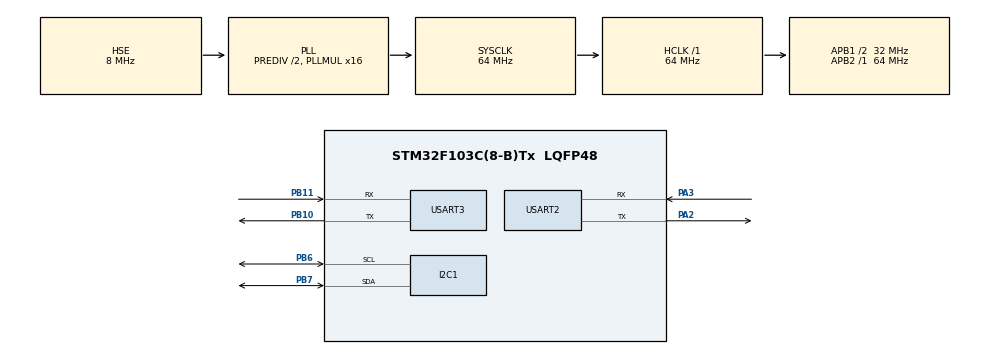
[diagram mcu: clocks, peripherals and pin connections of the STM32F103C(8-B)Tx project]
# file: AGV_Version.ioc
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Mcu.Family=STM32F1
NVIC.USART3_IRQn=true\:0\:0\:false\:false\:true\:true\:true
Dma.USART3_RX.0.Instance=DMA1_Channel3
RCC.PLLSourceVirtual=RCC_PLLSOURCE_HSE
Dma.USART2_RX.2.PeriphDataAlignment=DMA_PDATAALIGN_BYTE
Dma.USART2_TX.3.MemDataAlignment=DMA_MDATAALIGN_BYTE
NVIC.DMA1_Channel6_IRQn=true\:0\:0\:false\:false\:true\:false\:true
Dma.USART3_TX.1.MemDataAlignment=DMA_MDATAALIGN_BYTE
Dma.USART3_RX.0.PeriphInc=DMA_PINC_DISABLE
PD1-OSC_OUT.Mode=HSE-External-Oscillator
Dma.USART2_TX.3.Instance=DMA1_Channel7
PB10.Mode=Asynchronous
Dma.USART2_TX.3.MemInc=DMA_MINC_ENABLE
Dma.USART3_TX.1.MemInc=DMA_MINC_ENABLE
Dma.USART3_TX.1.PeriphDataAlignment=DMA_PDATAALIGN_BYTE
Dma.USART2_TX.3.PeriphInc=DMA_PINC_DISABLE
PD0-OSC_IN.Signal=RCC_OSC_IN
Dma.USART2_TX.3.Direction=DMA_MEMORY_TO_PERIPH
Dma.USART3_TX.1.Instance=DMA1_Channel2
RCC.APB1CLKDivider=RCC_HCLK_DIV2
PB11.Signal=USART3_RX
NVIC.USART2_IRQn=true\:0\:0\:false\:false\:true\:true\:true
Dma.USART2_RX.2.Mode=DMA_NORMAL
RCC.SYSCLKSource=RCC_SYSCLKSOURCE_PLLCLK
ProjectManager.StackSize=0x400
Dma.USART3_RX.0.Mode=DMA_NORMAL
PD1-OSC_OUT.Signal=RCC_OSC_OUT
NVIC.DMA1_Channel3_IRQn=true\:0\:0\:false\:false\:true\:false\:true
PA13.Signal=SYS_JTMS-SWDIO
PA3.Mode=Asynchronous
Dma.USART2_RX.2.MemInc=DMA_MINC_ENABLE
PB11.Mode=Asynchronous
NVIC.DMA1_Channel2_IRQn=true\:0\:0\:false\:false\:true\:false\:true
ProjectManager.TargetToolchain=MDK-ARM V5
RCC.HCLKFreq_Value=64000000
RCC.APB2TimFreq_Value=64000000
PB6.Signal=I2C1_SCL
PB6.Mode=I2C
Dma.USART2_RX.2.Priority=DMA_PRIORITY_LOW
Dma.USART2_RX.2.MemDataAlignment=DMA_MDATAALIGN_BYTE
Dma.USART2_TX.3.PeriphDataAlignment=DMA_PDATAALIGN_BYTE
RCC.USBFreq_Value=64000000
RCC.AHBFreq_Value=64000000
PB10.Signal=USART3_TX
PD0-OSC_IN.Mode=HSE-External-Oscillator
Dma.USART3_RX.0.MemDataAlignment=DMA_MDATAALIGN_BYTE
board=custom
Dma.USART3_TX.1.Mode=DMA_NORMAL
RCC.PLLMUL=RCC_PLL_MUL16
Dma.USART2_RX.2.PeriphInc=DMA_PINC_DISABLE
RCC.APB2Freq_Value=64000000
PA14.Mode=Serial_Wire
Dma.USART2_TX.3.Mode=DMA_NORMAL
Dma.USART3_RX.0.PeriphDataAlignment=DMA_PDATAALIGN_BYTE
PB7.Signal=I2C1_SDA
PA13.Mode=Serial_Wire
Mcu.Name=STM32F103C(8-B)Tx
PA2.Signal=USART2_TX
Dma.USART3_TX.1.Priority=DMA_PRIORITY_MEDIUM
RCC.SYSCLKFreq_VALUE=64000000
Dma.USART3_RX.0.Direction=DMA_PERIPH_TO_MEMORY
Mcu.Package=LQFP48
Dma.USART3_RX.0.Priority=DMA_PRIORITY_MEDIUM
Dma.USART2_RX.2.Instance=DMA1_Channel6
USART2.VirtualMode=VM_ASYNC
USART3.VirtualMode=VM_ASYNC
RCC.HSEDivPLL=RCC_HSE_PREDIV_DIV2
PB7.Mode=I2C
PA14.Signal=SYS_JTCK-SWCLK
ProjectManager.HeapSize=0x200
Dma.USART2_RX.2.Direction=DMA_PERIPH_TO_MEMORY
Dma.USART3_RX.0.MemInc=DMA_MINC_ENABLE
Dma.USART2_TX.3.Priority=DMA_PRIORITY_LOW
NVIC.PriorityGroup=NVIC_PRIORITYGROUP_4
Dma.USART3_TX.1.Direction=DMA_MEMORY_TO_PERIPH
Dma.Request2=USART2_RX
Dma.Request1=USART3_TX
RCC.APB1TimFreq_Value=64000000
PA2.Mode=Asynchronous
Dma.Request3=USART2_TX
NVIC.DMA1_Channel7_IRQn=true\:0\:0\:false\:false\:true\:false\:true
Dma.USART3_TX.1.PeriphInc=DMA_PINC_DISABLE
Dma.Request0=USART3_RX
RCC.APB1Freq_Value=32000000
PA3.Signal=USART2_RX

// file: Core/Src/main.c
/* USER CODE BEGIN Header */
/**
  ******************************************************************************
  * @file           : main.c
  * @brief          : Main program body
  ******************************************************************************
  * @attention
  *
  * <h2><center>&copy; Copyright (c) 2020 STMicroelectronics.
  * All rights reserved.</center></h2>
  *
  * This software component is licensed by ST under BSD 3-Clause license,
  * the "License"; You may not use this file except in compliance with the
  * License. You may obtain a copy of the License at:
  *                        opensource.org/licenses/BSD-3-Clause
  *
  ******************************************************************************
  */
/* USER CODE END Header */
#include "main.h"
#include "dma.h"
#include "i2c.h"
#include "usart.h"
#include "gpio.h"

/* USER CODE BEGIN Includes */
#include<stdio.h>
/* USER CODE END Includes */

void SystemClock_Config(void);
/* USER CODE BEGIN PFP */
//#ifdef __GNUC__
//	#define PUTCHAR_PROTOTYPE int __io_putchar(int ch)
//#else
//	#define PUTCHAR_PROTOTYPE int fputc(int ch, FILE *f)
//#endif
//PUTCHAR_PROTOTYPE
//{
//		HAL_UART_Transmit(&huart2 , (uint8_t *)&ch, 1, 0xFFFF);
//		return ch;
//}
/* USER CODE END PFP */

/* USER CODE BEGIN 0 */
#define rx_size 2
extern DMA_HandleTypeDef hdma_usart2_rx;
extern DMA_HandleTypeDef hdma_usart2_tx;
extern DMA_HandleTypeDef hdma_usart3_rx;
extern DMA_HandleTypeDef hdma_usart3_tx;
void ResetUserTimer(uint32_t *Timer)
{
	*Timer = HAL_GetTick();
}

uint32_t ReadUserTimer(uint32_t *Timer)
{
	return ( HAL_GetTick() - *Timer);
}

void SetUserTimer(uint32_t *Timer,uint32_t T)
{
	*Timer = HAL_GetTick() + T;
}
/* USER CODE END 0 */

int main(void)
{
  /* USER CODE BEGIN 1 */
	// 发送测试字符串
	uint8_t str[] = "\r\n-------------Running Started------------------\r\n";
	// 接收缓存区大小为20
	uint8_t recvStr2[20] = {0x00};
	uint8_t recvStr3[rx_size] = {0x99, 0xaa};
	uint8_t sendStr3[rx_size] = {0x88, 0x00};
  /* USER CODE END 1 */

  /* MCU Configuration--------------------------------------------------------*/

  /* Reset of all peripherals, Initializes the Flash interface and the Systick. */
  HAL_Init();

  /* Configure the system clock */
  SystemClock_Config();

  /* Initialize all configured peripherals */
  MX_GPIO_Init();
  MX_DMA_Init();
  MX_USART2_UART_Init();
  MX_USART3_UART_Init();
  MX_I2C1_Init();
  /* USER CODE BEGIN 2 */
//	HAL_UART_Transmit_DMA(&huart3, str, sizeof(str) - 1);
//  HAL_Delay(1000);
//	HAL_UART_Receive_DMA(&huart3, (uint8_t *)recvStr3, rx_size);
//	HAL_Delay(1000);
	HAL_UART_Transmit_DMA(&huart2, str, sizeof(str) - 1);
  HAL_Delay(1000);
	HAL_UART_Receive_DMA(&huart2, recvStr2, 20);
//	printf("%s\r\n",str);
//	for(int i=0; i<sizeof(recvStr3); i++)
//	{
//		printf("0x%02x ", recvStr3[i]);
//	}
//	printf("\r\n");
  /* USER CODE END 2 */

  /* Infinite loop */
  while (1)
  {

    /* USER CODE BEGIN 3 */

		static uint32_t uart3timer = 0;
		if (ReadUserTimer(&uart3timer) > 1000)
		{
			ResetUserTimer(&uart3timer);
//			//串口3接收
////			printf("\r\n uart3_rxdma_state: %d", hdma_usart3_rx.State);
//			if(hdma_usart3_rx.State == HAL_DMA_STATE_READY)
//			{
//				// 将接收到的字符打印出来进行观察
//				// 发到串口3
//				printf("\r\n receive data: ");
//				for(int i=0; i<sizeof(recvStr3); i++)
//				{
//					printf("0x%02x ", recvStr3[i]);
//				}
//				printf(".\r\n");
//				HAL_UART_Transmit_DMA(&huart3, sendStr3, sizeof(sendStr3) - 1);
//				// 清除缓存区内容，方便进行下次接收
//				memset(recvStr3,0,sizeof(recvStr3));
//				// 软件将标志位清零
//				hdma_usart3_rx.State = HAL_DMA_STATE_BUSY;
//				// 继续继续下一回合的DMA接收，因为采用的非循环模式，再次调用会再次使能DMA
//				HAL_UART_Receive_DMA(&huart3, (uint8_t *)recvStr3, rx_size);
//				sendStr3[1]+=0x01;
//			}

			//串口2接收
//			printf("\r\n uart2_rxdma_state: %d", hdma_usart2_rx.State);
			if(hdma_usart2_rx.State == HAL_DMA_STATE_READY)
			{
				// 将接收到的字符打印出来进行观察
				// 发到串口2
				HAL_UART_Transmit_DMA(&huart2, recvStr2, sizeof(recvStr2) - 1);
				HAL_Delay(1000);
				// 清除缓存区内容，方便进行下次接收
				memset(recvStr2,0,sizeof(recvStr2));
				// 软件将标志位清零
				hdma_usart2_rx.State = HAL_DMA_STATE_BUSY;
				// 继续继续下一回合的DMA接收，因为采用的非循环模式，再次调用会再次使能DMA
				HAL_UART_Receive_DMA(&huart2, recvStr2, 20);
			}
		}

		static uint32_t lifetimer, lifeCount = 0;
		if (ReadUserTimer(&lifetimer) > 1000*10)
		{
			ResetUserTimer(&lifetimer);
//			printf("\r\nrunning %d(0) s", lifeCount++);
			uint8_t runn[10] = "running";
			HAL_UART_Transmit_DMA(&huart2, runn, sizeof(runn) - 1);
		}
  }
  /* USER CODE END 3 */
}

void SystemClock_Config(void)
{
  RCC_OscInitTypeDef RCC_OscInitStruct = {0};
  RCC_ClkInitTypeDef RCC_ClkInitStruct = {0};

  /** Initializes the RCC Oscillators according to the specified parameters
  * in the RCC_OscInitTypeDef structure.
  */
  RCC_OscInitStruct.OscillatorType = RCC_OSCILLATORTYPE_HSE;
  RCC_OscInitStruct.HSEState = RCC_HSE_ON;
  RCC_OscInitStruct.HSEPredivValue = RCC_HSE_PREDIV_DIV2;
  RCC_OscInitStruct.HSIState = RCC_HSI_ON;
  RCC_OscInitStruct.PLL.PLLState = RCC_PLL_ON;
  RCC_OscInitStruct.PLL.PLLSource = RCC_PLLSOURCE_HSE;
  RCC_OscInitStruct.PLL.PLLMUL = RCC_PLL_MUL16;
  if (HAL_RCC_OscConfig(&RCC_OscInitStruct) != HAL_OK)
  {
    Error_Handler();
  }
  /** Initializes the CPU, AHB and APB buses clocks
  */
  RCC_ClkInitStruct.ClockType = RCC_CLOCKTYPE_HCLK|RCC_CLOCKTYPE_SYSCLK
                              |RCC_CLOCKTYPE_PCLK1|RCC_CLOCKTYPE_PCLK2;
  RCC_ClkInitStruct.SYSCLKSource = RCC_SYSCLKSOURCE_PLLCLK;
  RCC_ClkInitStruct.AHBCLKDivider = RCC_SYSCLK_DIV1;
  RCC_ClkInitStruct.APB1CLKDivider = RCC_HCLK_DIV2;
  RCC_ClkInitStruct.APB2CLKDivider = RCC_HCLK_DIV1;

  if (HAL_RCC_ClockConfig(&RCC_ClkInitStruct, FLASH_LATENCY_2) != HAL_OK)
  {
    Error_Handler();
  }
}

void Error_Handler(void)
{
}

/************************ (C) COPYRIGHT STMicroelectronics *****END OF FILE****/
